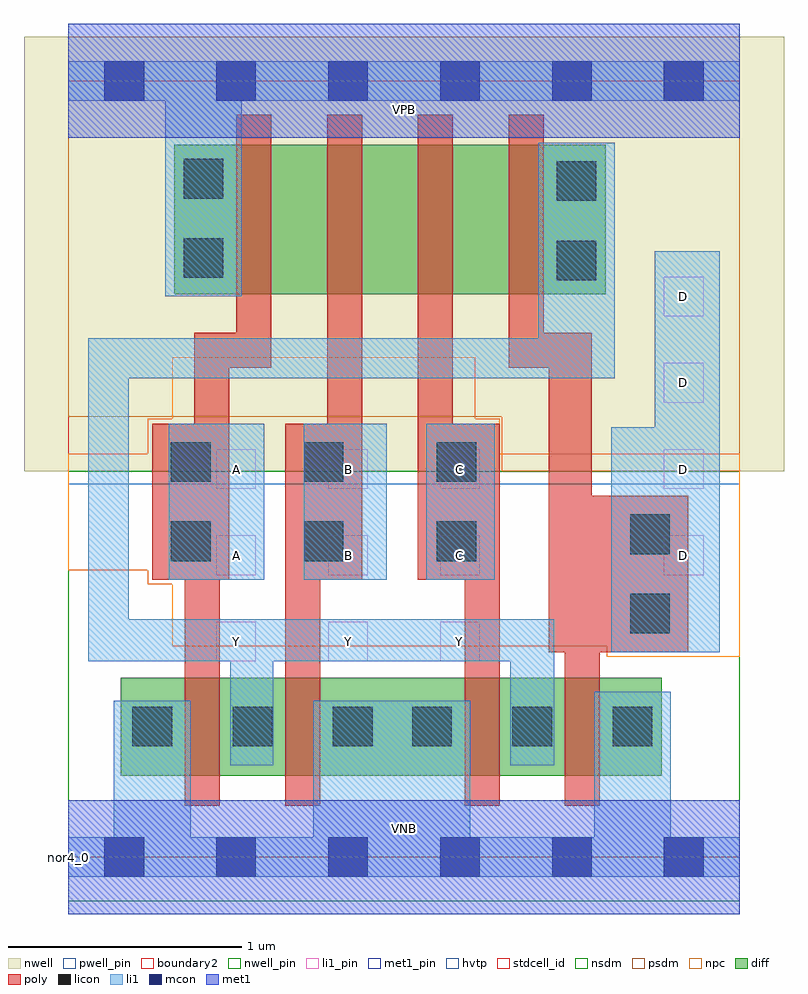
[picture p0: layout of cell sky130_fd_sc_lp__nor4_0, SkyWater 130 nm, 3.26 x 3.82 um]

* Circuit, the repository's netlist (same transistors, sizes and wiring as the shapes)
* Copyright 2020 The SkyWater PDK Authors
*
* Licensed under the Apache License, Version 2.0 (the "License");
* you may not use this file except in compliance with the License.
* You may obtain a copy of the License at
*
*     https://www.apache.org/licenses/LICENSE-2.0
*
* Unless required by applicable law or agreed to in writing, software
* distributed under the License is distributed on an "AS IS" BASIS,
* WITHOUT WARRANTIES OR CONDITIONS OF ANY KIND, either express or implied.
* See the License for the specific language governing permissions and
* limitations under the License.
*
* SPDX-License-Identifier: Apache-2.0

.SUBCKT sky130_fd_sc_lp__nor4_0 A B C D VGND VNB VPB VPWR Y
*.PININFO A:I B:I C:I D:I VGND:I VNB:I VPB:I VPWR:I Y:O
MMP0 VPWR A sndPA VPB sky130_fd_pr__pfet_01v8_hvt m=1 w=0.64U l=0.15U mult=1 sa=0.265
+ sb=0.265 sd=0.28 area=0.028 perim=0.76
MMP1 sndPA B sndPB VPB sky130_fd_pr__pfet_01v8_hvt m=1 w=0.64U l=0.15U mult=1 sa=0.265
+ sb=0.265 sd=0.28 area=0.028 perim=0.76
MMP2 sndPB C sndPC VPB sky130_fd_pr__pfet_01v8_hvt m=1 w=0.64U l=0.15U mult=1 sa=0.265
+ sb=0.265 sd=0.28 area=0.028 perim=0.76
MMP3 sndPC D Y VPB sky130_fd_pr__pfet_01v8_hvt m=1 w=0.64U l=0.15U mult=1 sa=0.265
+ sb=0.265 sd=0.28 area=0.028 perim=0.76
MMN0 Y A VGND VNB sky130_fd_pr__nfet_01v8 m=1 w=0.42U l=0.15U mult=1 sa=0.265 sb=0.265
+ sd=0.28 area=0.028 perim=0.76
MMN1 Y B VGND VNB sky130_fd_pr__nfet_01v8 m=1 w=0.42U l=0.15U mult=1 sa=0.265 sb=0.265
+ sd=0.28 area=0.028 perim=0.76
MMN2 Y C VGND VNB sky130_fd_pr__nfet_01v8 m=1 w=0.42U l=0.15U mult=1 sa=0.265 sb=0.265
+ sd=0.28 area=0.028 perim=0.76
MMN3 Y D VGND VNB sky130_fd_pr__nfet_01v8 m=1 w=0.42U l=0.15U mult=1 sa=0.265 sb=0.265
+ sd=0.28 area=0.028 perim=0.76
.ENDS sky130_fd_sc_lp__nor4_0

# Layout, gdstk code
import gdstk
lib = gdstk.Library(unit=1e-6, precision=1e-09)
def R(c, l, rs):  # rectangles x0, y0, x1, y1
    for r in rs: c.add(gdstk.rectangle(r[:2], r[2:], *l))
def A(c, l, x, y, w, h, nx, ny, dx, dy):  # array of equal rectangles
    R(c, l, [(x+i*dx, y+j*dy, x+i*dx+w, y+j*dy+h) for i in range(nx) for j in range(ny)])
def P(c, l, *ps):  # polygons
    for p in ps: c.add(gdstk.Polygon(p, *l))
nwell_pin = (64, 16)
nwell = (64, 20)
diff = (65, 20)
poly = (66, 20)
licon = (66, 44)
li1_pin = (67, 16)
li1 = (67, 20)
mcon = (67, 44)
met1_pin = (68, 16)
met1 = (68, 20)
hvtp = (78, 44)
stdcell_id = (81, 4)
nsdm = (93, 44)
psdm = (94, 20)
npc = (95, 20)
pwell_pin = (122, 16)
boundary2 = (236, 0)

sky130_fd_sc_lp__nor4_0 = lib.new_cell('sky130_fd_sc_lp__nor4_0')
R(sky130_fd_sc_lp__nor4_0, nwell_pin, [(0,3.085,2.88,3.33)])
R(sky130_fd_sc_lp__nor4_0, nwell, [(-0.19,1.655,3.07,3.52)])
R(sky130_fd_sc_lp__nor4_0, diff, [(0.225,0.35,2.545,0.77), (0.455,2.415,2.305,3.055)])
R(sky130_fd_sc_lp__nor4_0, poly, [(0.5,0.22,0.65,1.215), (2.13,0.22,2.28,0.895)])
P(sky130_fd_sc_lp__nor4_0, poly, [(0.87,3.185),(0.72,3.185),(0.72,2.25),(0.54,2.25),(0.54,1.86),(0.36,1.86),(0.36,1.19),(0.69,1.19),(0.69,2.1),(0.87,2.1)],
  [(1.26,3.185),(1.11,3.185),(1.11,1.86),(0.93,1.86),(0.93,0.22),(1.08,0.22),(1.08,1.19),(1.26,1.19)],
  [(1.85,1.86),(1.65,1.86),(1.65,3.185),(1.5,3.185),(1.5,1.19),(1.7,1.19),(1.7,0.22),(1.85,0.22)],
  [(2.66,1.55),(2.245,1.55),(2.245,2.25),(2.04,2.25),(2.04,3.185),(1.89,3.185),(1.89,2.1),(2.06,2.1),(2.06,0.88),(2.66,0.88)])
A(sky130_fd_sc_lp__nor4_0, licon, 0.275, 0.475, 0.17, 0.17, 3, 1, 0.43, 0)
A(sky130_fd_sc_lp__nor4_0, licon, 1.475, 0.475, 0.17, 0.17, 3, 1, 0.43, 0)
A(sky130_fd_sc_lp__nor4_0, licon, 0.44, 1.27, 0.17, 0.17, 3, 2, 0.57, 0.34)
R(sky130_fd_sc_lp__nor4_0, licon, [(2.41,0.96,2.58,1.13), (2.41,1.3,2.58,1.47), (2.095,2.475,2.265,2.645), (0.495,2.485,0.665,2.655), (2.095,2.815,2.265,2.985), (0.495,2.825,0.665,2.995)])
A(sky130_fd_sc_lp__nor4_0, li1_pin, 0.635, 0.84, 0.17, 0.17, 3, 3, 0.48, 0.37)
A(sky130_fd_sc_lp__nor4_0, li1_pin, 2.555, 1.21, 0.17, 0.17, 1, 4, 0, 0.37)
R(sky130_fd_sc_lp__nor4_0, li1, [(0.43,1.19,0.84,1.86), (1.01,1.19,1.365,1.86), (1.535,1.19,1.83,1.86)])
P(sky130_fd_sc_lp__nor4_0, li1, [(0.415,2.405),(0.415,3.245),(0,3.245),(0,3.415),(2.88,3.415),(2.88,3.245),(0.745,3.245),(0.745,2.405)],
  [(2.255,0.085),(2.255,0.71),(2.585,0.71),(2.585,0.085),(2.88,0.085),(2.88,-0.085),(0,-0.085),(0,0.085),(0.195,0.085),(0.195,0.67),(0.525,0.67),(0.525,0.085),(1.05,0.085),(1.05,0.67),(1.725,0.67),(1.725,0.085)],
  [(2.795,2.6),(2.515,2.6),(2.515,1.845),(2.33,1.845),(2.33,0.88),(2.795,0.88)],
  [(0.26,2.055),(0.26,1.02),(2.085,1.02),(2.085,0.395),(1.895,0.395),(1.895,0.84),(0.88,0.84),(0.88,0.395),(0.695,0.395),(0.695,0.84),(0.085,0.84),(0.085,2.225),(2.015,2.225),(2.015,3.065),(2.345,3.065),(2.345,2.055)])
A(sky130_fd_sc_lp__nor4_0, mcon, 0.155, -0.085, 0.17, 0.17, 6, 2, 0.48, 3.33)
R(sky130_fd_sc_lp__nor4_0, met1_pin, [(0,0,2.88,0.245), (0,3.085,2.88,3.33)])
R(sky130_fd_sc_lp__nor4_0, met1, [(0,-0.245,2.88,0.245), (0,3.085,2.88,3.575)])
R(sky130_fd_sc_lp__nor4_0, hvtp, [(0,1.6,2.88,3.33)])
R(sky130_fd_sc_lp__nor4_0, stdcell_id, [(0,0,2.88,3.33)])
R(sky130_fd_sc_lp__nor4_0, nsdm, [(0,-0.19,2.88,1.655)])
P(sky130_fd_sc_lp__nor4_0, psdm, [(2.88,3.52),(0,3.52),(0,1.89),(1.86,1.89),(1.86,1.655),(2.88,1.655)])
P(sky130_fd_sc_lp__nor4_0, npc, [(2.88,1.73),(1.85,1.73),(1.85,1.88),(1.745,1.88),(1.745,2.145),(0.445,2.145),(0.445,1.88),(0.34,1.88),(0.34,1.73),(0,1.73),(0,1.23),(0.34,1.23),(0.34,1.17),(0.445,1.17),(0.445,0.905),(2.31,0.905),(2.31,0.86),(2.88,0.86)])
R(sky130_fd_sc_lp__nor4_0, pwell_pin, [(0,0,2.88,0.245)])
R(sky130_fd_sc_lp__nor4_0, boundary2, [(0,0,2.88,3.33)])
sky130_fd_sc_lp__nor4_0.add(gdstk.Label('VNB', (1.44,0.123), layer=64, texttype=59))
sky130_fd_sc_lp__nor4_0.add(gdstk.Label('VPB', (1.44,3.208), layer=64, texttype=5))
sky130_fd_sc_lp__nor4_0.add(gdstk.Label('nor4_0', (0,0), layer=83, texttype=44))
sky130_fd_sc_lp__nor4_0.add(gdstk.Label('VPWR', (1.44,3.208), layer=68, texttype=5))
sky130_fd_sc_lp__nor4_0.add(gdstk.Label('VGND', (1.44,0.123), layer=68, texttype=5))
sky130_fd_sc_lp__nor4_0.add(gdstk.Label('A', (0.72,1.295), layer=67, texttype=5))
sky130_fd_sc_lp__nor4_0.add(gdstk.Label('A', (0.72,1.665), layer=67, texttype=5))
sky130_fd_sc_lp__nor4_0.add(gdstk.Label('D', (2.64,2.035), layer=67, texttype=5))
sky130_fd_sc_lp__nor4_0.add(gdstk.Label('D', (2.64,1.295), layer=67, texttype=5))
sky130_fd_sc_lp__nor4_0.add(gdstk.Label('D', (2.64,1.665), layer=67, texttype=5))
sky130_fd_sc_lp__nor4_0.add(gdstk.Label('Y', (0.72,0.925), layer=67, texttype=5))
sky130_fd_sc_lp__nor4_0.add(gdstk.Label('Y', (1.2,0.925), layer=67, texttype=5))
sky130_fd_sc_lp__nor4_0.add(gdstk.Label('Y', (1.68,0.925), layer=67, texttype=5))
sky130_fd_sc_lp__nor4_0.add(gdstk.Label('B', (1.2,1.295), layer=67, texttype=5))
sky130_fd_sc_lp__nor4_0.add(gdstk.Label('B', (1.2,1.665), layer=67, texttype=5))
sky130_fd_sc_lp__nor4_0.add(gdstk.Label('C', (1.68,1.295), layer=67, texttype=5))
sky130_fd_sc_lp__nor4_0.add(gdstk.Label('C', (1.68,1.665), layer=67, texttype=5))
sky130_fd_sc_lp__nor4_0.add(gdstk.Label('D', (2.64,2.405), layer=67, texttype=5))

lib.write_gds('sky130_fd_sc_lp__nor4_0.gds')
